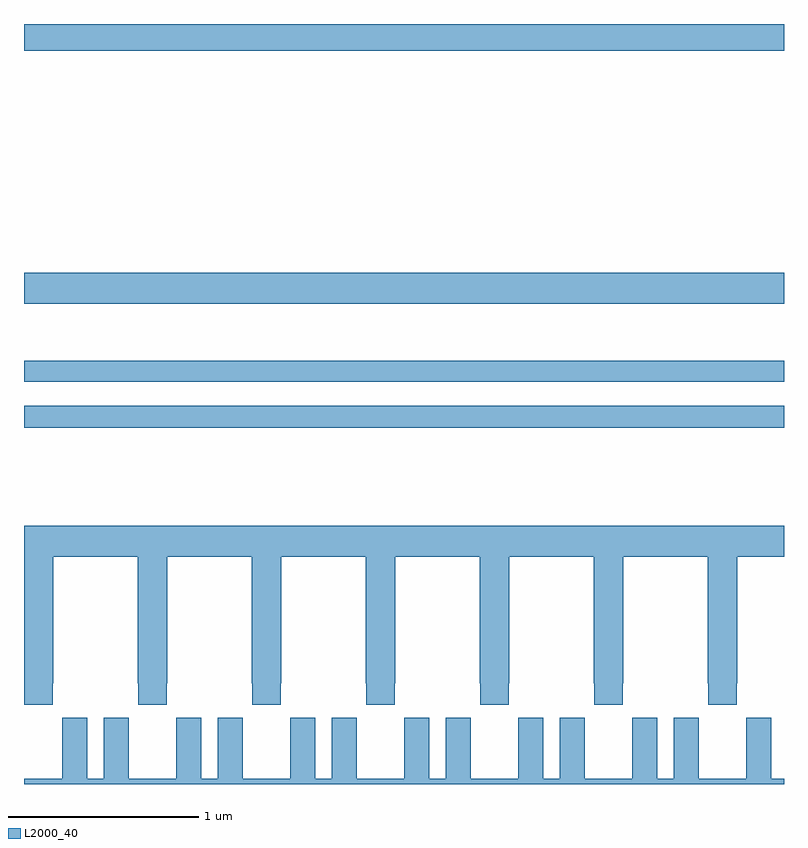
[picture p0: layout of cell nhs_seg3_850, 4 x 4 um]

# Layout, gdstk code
import gdstk
lib = gdstk.Library(unit=1e-6, precision=1e-09)
def R(c, l, rs):  # rectangles x0, y0, x1, y1
    for r in rs: c.add(gdstk.rectangle(r[:2], r[2:], *l))
def P(c, l, *ps):  # polygons
    for p in ps: c.add(gdstk.Polygon(p, *l))
L2000_40 = (2000, 40)

nhs_seg3_850 = lib.new_cell('nhs_seg3_850')
R(nhs_seg3_850, L2000_40, [(155,688.276,159,688.392), (155,688.518,159,688.627), (155,688.928,159,689.092), (155,690.26,159,690.4)])
P(nhs_seg3_850, L2000_40, [(155.151,686.929),(155.154,686.929),(155.154,687.596),(155.599,687.596),(155.599,686.929),(155.601,686.929),(155.601,686.817),(155.751,686.817),(155.751,686.929),(155.754,686.929),(155.754,687.596),(156.199,687.596),(156.199,686.929),(156.201,686.929),(156.201,686.817),(156.351,686.817),(156.351,686.929),(156.354,686.929),(156.354,687.596),(156.799,687.596),(156.799,686.929),(156.801,686.929),(156.801,686.817),(156.951,686.817),(156.951,686.929),(156.954,686.929),(156.954,687.596),(157.399,687.596),(157.399,686.929),(157.401,686.929),(157.401,686.817),(157.551,686.817),(157.551,686.929),(157.554,686.929),(157.554,687.596),(157.999,687.596),(157.999,686.929),(158.001,686.929),(158.001,686.817),(158.151,686.817),(158.151,686.929),(158.154,686.929),(158.154,687.596),(158.599,687.596),(158.599,686.929),(158.601,686.929),(158.601,686.817),(158.751,686.817),(158.751,686.929),(158.754,686.929),(158.754,687.596),(159,687.596),(159,687.76),(155,687.76),(155,686.929),(155.001,686.929),(155.001,686.817),(155.151,686.817)],
  [(158.55,686.636),(158.55,686.749),(158.42,686.749),(158.42,686.428),(158.332,686.428),(158.332,686.749),(158.202,686.749),(158.202,686.636),(158.201,686.636),(158.201,686.428),(157.951,686.428),(157.951,686.636),(157.95,686.636),(157.95,686.749),(157.82,686.749),(157.82,686.428),(157.732,686.428),(157.732,686.749),(157.602,686.749),(157.602,686.636),(157.601,686.636),(157.601,686.428),(157.351,686.428),(157.351,686.636),(157.35,686.636),(157.35,686.749),(157.22,686.749),(157.22,686.428),(157.132,686.428),(157.132,686.749),(157.002,686.749),(157.002,686.636),(157.001,686.636),(157.001,686.428),(156.751,686.428),(156.751,686.636),(156.75,686.636),(156.75,686.749),(156.62,686.749),(156.62,686.428),(156.532,686.428),(156.532,686.749),(156.402,686.749),(156.402,686.636),(156.401,686.636),(156.401,686.428),(156.151,686.428),(156.151,686.636),(156.15,686.636),(156.15,686.749),(156.02,686.749),(156.02,686.428),(155.932,686.428),(155.932,686.749),(155.802,686.749),(155.802,686.636),(155.801,686.636),(155.801,686.428),(155.551,686.428),(155.551,686.636),(155.55,686.636),(155.55,686.749),(155.42,686.749),(155.42,686.428),(155.332,686.428),(155.332,686.749),(155.202,686.749),(155.202,686.636),(155.201,686.636),(155.201,686.428),(155,686.428),(155,686.4),(159,686.4),(159,686.428),(158.932,686.428),(158.932,686.749),(158.802,686.749),(158.802,686.636),(158.801,686.636),(158.801,686.428),(158.551,686.428),(158.551,686.636)])

lib.write_gds('nhs_seg3_850.gds')
